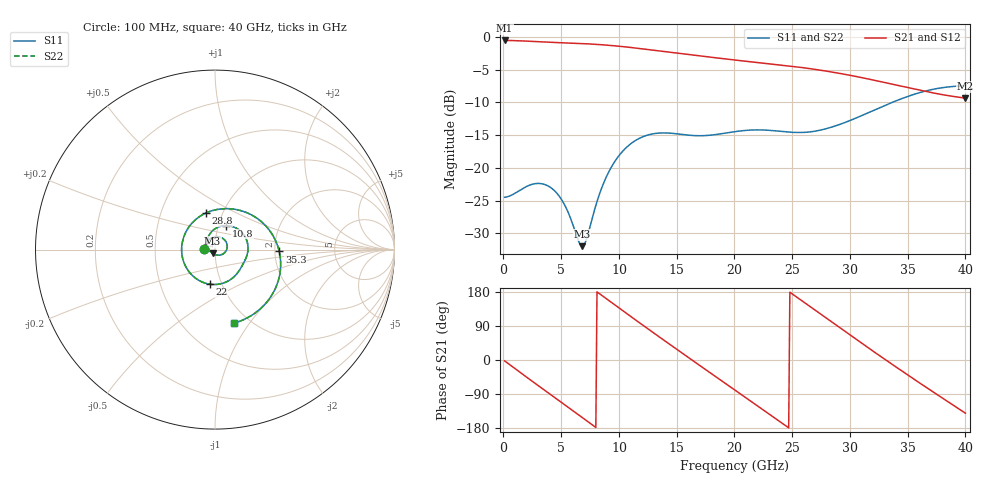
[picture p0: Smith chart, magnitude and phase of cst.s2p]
! D_s8_stitch_1p0: L1 (ref L2) → L8 (ref L7), one GND via at 1 mm
! stackup: 8-layer 1.6 mm FR-4 (generic)
! ports: 1, 2
! CST Studio Suite 2025.5 Release from 2025-05-30, time domain (FIT, hexahedral, PBA), 238680 mesh cells, 45 s
! mesh: {'lpw': 20, 'lpb': 20, 'minstep': 0.0, 'ratio': 20}; ports: port 1 (face); port 2 (face)
! interpolated from CST's 1001 samples to the case grid
# Hz S RI R 50
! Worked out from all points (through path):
!   400 points, 100 MHz to 40 GHz, reference 50 ohm
!   highest |S21| = -0.54 dB at 100 MHz (marker M1); lowest = -9.4 dB at 40 GHz (marker M2)
!   group delay of S21, straight-line fit = 59.9 ps
!   lowest |S11| = -32.0 dB at 6.8 GHz (marker M3), VSWR 1.05, Z = 48.6 - j2.07 ohm
!   |S11| at or under -10 dB: start of sweep to 33.67 GHz
!   |S22| runs from -32.0 to -7.5 dB; largest |S21 - S12| = 3.2e-07
!   S11 on the Smith chart (normalised r, x): 100 MHz: 0.89, +0.01; 10.8 GHz: 1.09, +0.30; 22 GHz: 0.88, -0.35; 28.8 GHz: 0.83, +0.35; 35.3 GHz: 2.11, -0.05; 40 GHz: 0.85, -0.85
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1e8  -0.0593 0.00552  0.9385 -0.0372  0.9385 -0.0372  -0.0593 0.00552
1.6e9  -0.0142 0.0674  0.7518 -0.5504  0.7518 -0.5504  -0.0142 0.0674
3.5e9  0.0626 0.0411  0.1833 -0.895  0.1833 -0.895  0.0626 0.0411
5.1e9  0.0529 -0.0181  -0.3614 -0.8259  -0.3614 -0.8259  0.0529 -0.0181
6.8e9  -0.0135 -0.0213  -0.7798 -0.4274  -0.7798 -0.4274  -0.0135 -0.0213
8.7e9  -0.0386 0.0671  -0.8442 0.204  -0.8442 0.204  -0.0386 0.0671
1.08e10  0.0608 0.134  -0.4143 0.7243  -0.4143 0.7243  0.0608 0.134
1.21e10  0.1344 0.1092  -0.0168 0.8087  -0.0168 0.8087  0.1344 0.1092
1.34e10  0.1767 0.0514  0.3565 0.6969  0.3565 0.6969  0.1767 0.0513
1.5e10  0.1806 -0.022  0.662 0.3578  0.662 0.3578  0.1806 -0.022
1.65e10  0.1613 -0.0711  0.7237 -0.0486  0.7237 -0.0486  0.1613 -0.0711
1.84e10  0.1303 -0.1236  0.494 -0.4847  0.494 -0.4847  0.1303 -0.1236
2.01e10  0.0778 -0.1725  0.1081 -0.656  0.1081 -0.656  0.0778 -0.1725
2.2e10  -0.0285 -0.1928  -0.3293 -0.5454  -0.3293 -0.5454  -0.0285 -0.1928
2.44e10  -0.1648 -0.0914  -0.5993 -0.0782  -0.5993 -0.0782  -0.1648 -0.0914
2.67e10  -0.1671 0.088  -0.4205 0.3841  -0.4205 0.3841  -0.1671 0.088
2.88e10  -0.0521 0.2032  -0.0193 0.5318  -0.0193 0.5318  -0.0521 0.2032
3.12e10  0.1244 0.222  0.3692 0.3146  0.3692 0.3146  0.1244 0.222
3.34e10  0.2764 0.1388  0.438 -0.0465  0.438 -0.0465  0.2765 0.1388
3.53e10  0.3578 -0.0103  0.284 -0.2888  0.284 -0.2888  0.3579 -0.0103
3.75e10  0.3284 -0.2327  -0.00112 -0.3689  -0.00112 -0.3689  0.3284 -0.2328
4e10  0.107 -0.4096  -0.2622 -0.2171  -0.2622 -0.2171  0.1069 -0.4097
